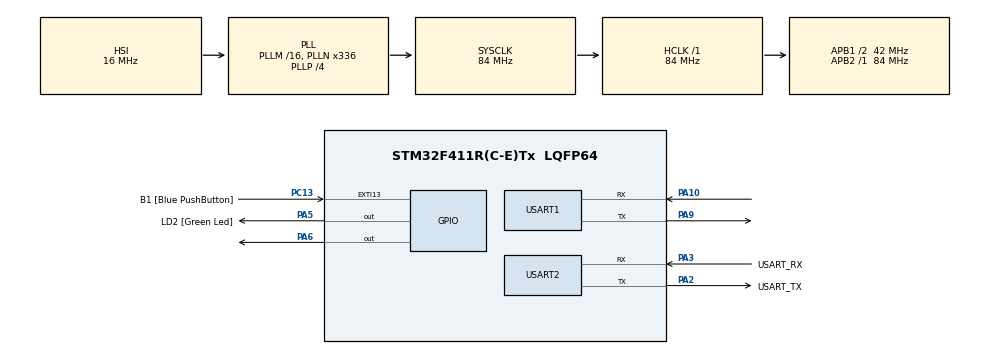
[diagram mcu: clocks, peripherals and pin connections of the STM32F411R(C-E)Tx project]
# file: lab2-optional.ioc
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Mcu.Family=STM32F4
Mcu.Name=STM32F411R(C-E)Tx
Mcu.Package=LQFP64
NVIC.PriorityGroup=NVIC_PRIORITYGROUP_0
PA10.Mode=Asynchronous
PA10.Signal=USART1_RX
PA13.GPIO_Label=TMS
PA13.Mode=Serial_Wire
PA13.Signal=SYS_JTMS-SWDIO
PA14.GPIO_Label=TCK
PA14.Mode=Serial_Wire
PA14.Signal=SYS_JTCK-SWCLK
PA2.GPIO_Label=USART_TX
PA2.Mode=Asynchronous
PA2.Signal=USART2_TX
PA3.GPIO_Label=USART_RX
PA3.Mode=Asynchronous
PA3.Signal=USART2_RX
PA5.GPIO_Label=LD2 [Green Led]
PA5.Signal=GPIO_Output
PA6.Signal=GPIO_Output
PA9.Mode=Asynchronous
PA9.Signal=USART1_TX
PB3.GPIO_Label=SWO
PB3.Signal=SYS_JTDO-SWO
PC13-ANTI_TAMP.GPIO_Label=B1 [Blue PushButton]
PC13-ANTI_TAMP.GPIO_ModeDefaultEXTI=GPIO_MODE_IT_FALLING
PC13-ANTI_TAMP.Signal=GPXTI13
PC14-OSC32_IN.Mode=LSE-External-Oscillator
PC14-OSC32_IN.Signal=RCC_OSC32_IN
PC15-OSC32_OUT.Mode=LSE-External-Oscillator
PC15-OSC32_OUT.Signal=RCC_OSC32_OUT
PH0\ -\ OSC_IN.Mode=HSE-External-Clock-Source
PH0\ -\ OSC_IN.Signal=RCC_OSC_IN
PH1\ -\ OSC_OUT.Mode=HSE-External-Clock-Source
PH1\ -\ OSC_OUT.Signal=RCC_OSC_OUT
ProjectManager.HeapSize=0x200
ProjectManager.StackSize=0x400
ProjectManager.TargetToolchain=STM32CubeIDE
RCC.48MHZClocksFreq_Value=84000000
RCC.AHBFreq_Value=84000000
RCC.APB1CLKDivider=RCC_HCLK_DIV2
RCC.APB1Freq_Value=42000000
RCC.APB1TimFreq_Value=84000000
RCC.APB2Freq_Value=84000000
RCC.APB2TimFreq_Value=84000000
RCC.CortexFreq_Value=84000000
RCC.FLatency-AdvancedSettings=FLASH_LATENCY_2
RCC.HCLKFreq_Value=84000000
RCC.HSE_VALUE=8000000
RCC.HSI_VALUE=16000000
RCC.PLLN=336
RCC.PLLP=RCC_PLLP_DIV4
RCC.SYSCLKFreq_VALUE=84000000
RCC.SYSCLKSource=RCC_SYSCLKSOURCE_PLLCLK
RCC.VCOOutputFreq_Value=336000000
USART1.VirtualMode=VM_ASYNC
USART2.VirtualMode=VM_ASYNC
board=NUCLEO-F411RE

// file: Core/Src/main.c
/* USER CODE BEGIN Header */
/**
 ******************************************************************************
 * @file           : main.c
 * @brief          : Main program body
 ******************************************************************************
 * @attention
 *
 * Copyright (c) 2024 STMicroelectronics.
 * All rights reserved.
 *
 * This software is licensed under terms that can be found in the LICENSE file
 * in the root directory of this software component.
 * If no LICENSE file comes with this software, it is provided AS-IS.
 *
 ******************************************************************************
 */
/* USER CODE END Header */
#include "main.h"

/* USER CODE BEGIN Includes */
#include <stdbool.h>
/* USER CODE END Includes */

UART_HandleTypeDef huart1;
UART_HandleTypeDef huart2;

void SystemClock_Config(void);
static void MX_GPIO_Init(void);
static void MX_USART2_UART_Init(void);
static void MX_USART1_UART_Init(void);

/* USER CODE BEGIN 0 */
int debounce_score = 0;
bool button_active = false;
void masterLoop() {
	HAL_Delay(1);

	GPIO_PinState button_state = HAL_GPIO_ReadPin(GPIOC, GPIO_PIN_13);

	if (button_state == GPIO_PIN_RESET) {
		debounce_score++;

		if (debounce_score >= 10 && !button_active) {
			// Send Toggle Signal
			HAL_UART_Transmit(&huart1, "T ", 2, 100);

			button_active = true;
		}
	} else {
		debounce_score = 0;
		button_active = false;
	}
}

int8_t buffer[10];
void slaveLoop() {
	HAL_UART_Receive(&huart1, buffer, 1, 100);

	if (buffer[0] == 'T') {
		HAL_GPIO_TogglePin(GPIOA, GPIO_PIN_6);
	}
}
/* USER CODE END 0 */

int main(void)
{

  /* MCU Configuration--------------------------------------------------------*/

  /* Reset of all peripherals, Initializes the Flash interface and the Systick. */
  HAL_Init();

  /* Configure the system clock */
  SystemClock_Config();

  /* Initialize all configured peripherals */
  MX_GPIO_Init();
  MX_USART2_UART_Init();
  MX_USART1_UART_Init();
  /* USER CODE BEGIN 2 */
	const bool isMaster = true;
  /* USER CODE END 2 */

  /* Infinite loop */
  /* USER CODE BEGIN WHILE */
	void (*loopFunc)() = isMaster ? &masterLoop : &slaveLoop;
	while (true) {
		loopFunc();
    /* USER CODE END WHILE */

	}
}

void SystemClock_Config(void)
{
  RCC_OscInitTypeDef RCC_OscInitStruct = {0};
  RCC_ClkInitTypeDef RCC_ClkInitStruct = {0};

  /** Configure the main internal regulator output voltage
  */
  __HAL_RCC_PWR_CLK_ENABLE();
  __HAL_PWR_VOLTAGESCALING_CONFIG(PWR_REGULATOR_VOLTAGE_SCALE1);

  /** Initializes the RCC Oscillators according to the specified parameters
  * in the RCC_OscInitTypeDef structure.
  */
  RCC_OscInitStruct.OscillatorType = RCC_OSCILLATORTYPE_HSI;
  RCC_OscInitStruct.HSIState = RCC_HSI_ON;
  RCC_OscInitStruct.HSICalibrationValue = RCC_HSICALIBRATION_DEFAULT;
  RCC_OscInitStruct.PLL.PLLState = RCC_PLL_ON;
  RCC_OscInitStruct.PLL.PLLSource = RCC_PLLSOURCE_HSI;
  RCC_OscInitStruct.PLL.PLLM = 16;
  RCC_OscInitStruct.PLL.PLLN = 336;
  RCC_OscInitStruct.PLL.PLLP = RCC_PLLP_DIV4;
  RCC_OscInitStruct.PLL.PLLQ = 4;
  if (HAL_RCC_OscConfig(&RCC_OscInitStruct) != HAL_OK)
  {
    Error_Handler();
  }

  /** Initializes the CPU, AHB and APB buses clocks
  */
  RCC_ClkInitStruct.ClockType = RCC_CLOCKTYPE_HCLK|RCC_CLOCKTYPE_SYSCLK
                              |RCC_CLOCKTYPE_PCLK1|RCC_CLOCKTYPE_PCLK2;
  RCC_ClkInitStruct.SYSCLKSource = RCC_SYSCLKSOURCE_PLLCLK;
  RCC_ClkInitStruct.AHBCLKDivider = RCC_SYSCLK_DIV1;
  RCC_ClkInitStruct.APB1CLKDivider = RCC_HCLK_DIV2;
  RCC_ClkInitStruct.APB2CLKDivider = RCC_HCLK_DIV1;

  if (HAL_RCC_ClockConfig(&RCC_ClkInitStruct, FLASH_LATENCY_2) != HAL_OK)
  {
    Error_Handler();
  }
}

static void MX_USART1_UART_Init(void)
{

  huart1.Instance = USART1;
  huart1.Init.BaudRate = 115200;
  huart1.Init.WordLength = UART_WORDLENGTH_8B;
  huart1.Init.StopBits = UART_STOPBITS_1;
  huart1.Init.Parity = UART_PARITY_NONE;
  huart1.Init.Mode = UART_MODE_TX_RX;
  huart1.Init.HwFlowCtl = UART_HWCONTROL_NONE;
  huart1.Init.OverSampling = UART_OVERSAMPLING_16;
  if (HAL_UART_Init(&huart1) != HAL_OK)
  {
    Error_Handler();
  }

}

static void MX_USART2_UART_Init(void)
{

  huart2.Instance = USART2;
  huart2.Init.BaudRate = 115200;
  huart2.Init.WordLength = UART_WORDLENGTH_8B;
  huart2.Init.StopBits = UART_STOPBITS_1;
  huart2.Init.Parity = UART_PARITY_NONE;
  huart2.Init.Mode = UART_MODE_TX_RX;
  huart2.Init.HwFlowCtl = UART_HWCONTROL_NONE;
  huart2.Init.OverSampling = UART_OVERSAMPLING_16;
  if (HAL_UART_Init(&huart2) != HAL_OK)
  {
    Error_Handler();
  }

}

static void MX_GPIO_Init(void)
{
  GPIO_InitTypeDef GPIO_InitStruct = {0};

  /* GPIO Ports Clock Enable */
  __HAL_RCC_GPIOC_CLK_ENABLE();
  __HAL_RCC_GPIOH_CLK_ENABLE();
  __HAL_RCC_GPIOA_CLK_ENABLE();
  __HAL_RCC_GPIOB_CLK_ENABLE();

  /*Configure GPIO pin Output Level */
  HAL_GPIO_WritePin(GPIOA, LD2_Pin|GPIO_PIN_6, GPIO_PIN_RESET);

  /*Configure GPIO pin : B1_Pin */
  GPIO_InitStruct.Pin = B1_Pin;
  GPIO_InitStruct.Mode = GPIO_MODE_IT_FALLING;
  GPIO_InitStruct.Pull = GPIO_NOPULL;
  HAL_GPIO_Init(B1_GPIO_Port, &GPIO_InitStruct);

  /*Configure GPIO pins : LD2_Pin PA6 */
  GPIO_InitStruct.Pin = LD2_Pin|GPIO_PIN_6;
  GPIO_InitStruct.Mode = GPIO_MODE_OUTPUT_PP;
  GPIO_InitStruct.Pull = GPIO_NOPULL;
  GPIO_InitStruct.Speed = GPIO_SPEED_FREQ_LOW;
  HAL_GPIO_Init(GPIOA, &GPIO_InitStruct);

}

void Error_Handler(void)
{
	__disable_irq();
	while (1) {
	}
}
